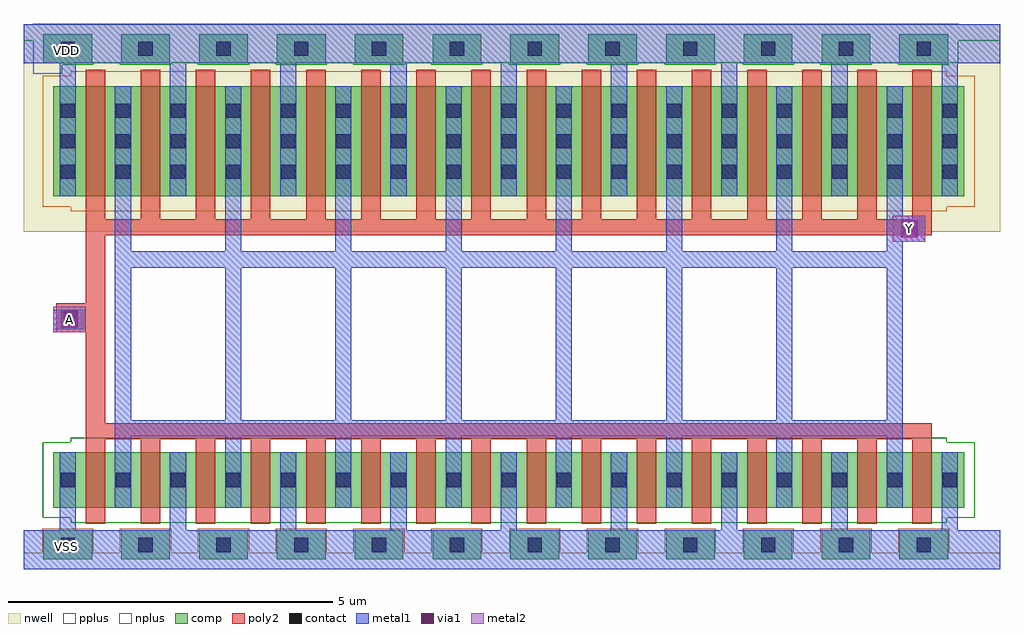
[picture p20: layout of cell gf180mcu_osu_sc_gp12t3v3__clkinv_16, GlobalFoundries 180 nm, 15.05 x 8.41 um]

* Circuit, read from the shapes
.subckt gf180mcu_osu_sc_gp12t3v3__clkinv_16 A VDD VSS Y
XM1 Y A VSS VSS nfet_03v3 w=0.85u l=0.3u m=16
XM2 Y A VDD VDD pfet_03v3 w=1.7u l=0.3u m=16
.ends

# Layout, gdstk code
import gdstk
lib = gdstk.Library(unit=1e-6, precision=1e-09)
def R(c, l, rs):  # rectangles x0, y0, x1, y1
    for r in rs: c.add(gdstk.rectangle(r[:2], r[2:], *l))
def A(c, l, x, y, w, h, nx, ny, dx, dy):  # array of equal rectangles
    R(c, l, [(x+i*dx, y+j*dy, x+i*dx+w, y+j*dy+h) for i in range(nx) for j in range(ny)])
nwell = (21, 0)
comp = (22, 0)
poly2 = (30, 0)
pplus = (31, 0)
nplus = (32, 0)
contact = (33, 0)
metal1 = (34, 0)
via1 = (35, 0)
metal2 = (36, 0)

gf180mcu_osu_sc_gp12t3v3 = lib.new_cell('gf180mcu_osu_sc_gp12t3v3__clkinv_16')
R(gf180mcu_osu_sc_gp12t3v3, nwell, [(0,5.2,15.05,8.4)])
A(gf180mcu_osu_sc_gp12t3v3, comp, 0.3, 0.15, 0.75, 0.45, 12, 2, 1.2, 7.65)
R(gf180mcu_osu_sc_gp12t3v3, comp, [(0.45,0.95,14.5,1.8), (0.45,5.75,14.5,7.45)])
A(gf180mcu_osu_sc_gp12t3v3, poly2, 0.95, 0.7, 0.3, 1.3, 16, 1, 0.85, 0)
A(gf180mcu_osu_sc_gp12t3v3, poly2, 0.95, 5.4, 0.3, 2.3, 16, 1, 0.85, 0)
R(gf180mcu_osu_sc_gp12t3v3, poly2, [(0.95,2,14,2.25), (0.95,2.25,1.25,3.65), (0.5,3.65,1.25,4.1), (0.95,4.1,1.25,5.15), (0.95,5.15,14,5.4)])
A(gf180mcu_osu_sc_gp12t3v3, pplus, 0.28, 0.13, 0.79, 0.49, 12, 1, 1.2, 0)
R(gf180mcu_osu_sc_gp12t3v3, pplus, [(0,0,15.05,0.25), (0.72,5.52,14.23,5.59), (0.29,5.59,14.66,7.61), (0.72,7.61,14.23,7.68)])
A(gf180mcu_osu_sc_gp12t3v3, nplus, 1.48, 7.78, 0.79, 0.03, 11, 1, 1.2, 0)
R(gf180mcu_osu_sc_gp12t3v3, nplus, [(0.72,0.72,14.23,0.79), (0.29,0.79,14.66,1.96), (0.72,1.96,14.23,2.03), (0.14,7.64,0.59,7.78), (0.14,7.78,1.07,7.81), (0.14,7.81,14.41,8.15), (0,8.15,15.05,8.4), (0,8.15,15.05,8.4), (0.14,8.4,14.41,8.41)])
A(gf180mcu_osu_sc_gp12t3v3, contact, 0.565, 0.265, 0.22, 0.22, 12, 2, 1.2, 7.65)
A(gf180mcu_osu_sc_gp12t3v3, contact, 0.565, 1.265, 0.22, 0.22, 17, 2, 0.85, 4.755)
A(gf180mcu_osu_sc_gp12t3v3, contact, 0.565, 6.49, 0.22, 0.22, 17, 2, 0.85, 0.47)
R(gf180mcu_osu_sc_gp12t3v3, contact, [(0.615,3.765,0.835,3.985)])
A(gf180mcu_osu_sc_gp12t3v3, metal1, 0.55, 0.6, 0.25, 1.2, 9, 1, 1.7, 0)
A(gf180mcu_osu_sc_gp12t3v3, metal1, 1.4, 0.95, 0.25, 1.1, 8, 1, 1.7, 0)
A(gf180mcu_osu_sc_gp12t3v3, metal1, 1.4, 2.3, 0.25, 2.35, 8, 1, 1.7, 0)
A(gf180mcu_osu_sc_gp12t3v3, metal1, 1.4, 4.9, 0.25, 2.55, 7, 1, 1.7, 0)
A(gf180mcu_osu_sc_gp12t3v3, metal1, 0.55, 5.75, 0.25, 2.05, 9, 1, 1.7, 0)
R(gf180mcu_osu_sc_gp12t3v3, metal1, [(0,0,15.05,0.6), (1.4,2.05,13.55,2.3), (0.45,3.7,0.95,4), (1.4,4.65,13.55,4.9), (13.3,4.9,13.55,5.05), (13.3,5.05,13.9,5.45), (13.3,5.45,13.55,7.45), (0,7.8,15.05,8.4)])
R(gf180mcu_osu_sc_gp12t3v3, via1, [(0.57,3.72,0.83,3.98), (13.52,5.12,13.78,5.38)])
R(gf180mcu_osu_sc_gp12t3v3, metal2, [(0.45,3.65,0.95,4.05), (13.4,5.05,13.9,5.45)])
gf180mcu_osu_sc_gp12t3v3.add(gdstk.Label('A', (0.7,3.85), layer=36, texttype=10))
gf180mcu_osu_sc_gp12t3v3.add(gdstk.Label('Y', (13.65,5.25), layer=36, texttype=10))
gf180mcu_osu_sc_gp12t3v3.add(gdstk.Label('VDD', (0.65,8), layer=34, texttype=10))
gf180mcu_osu_sc_gp12t3v3.add(gdstk.Label('VSS', (0.65,0.35), layer=34, texttype=10))

lib.write_gds('gf180mcu_osu_sc_gp12t3v3__clkinv_16.gds')
